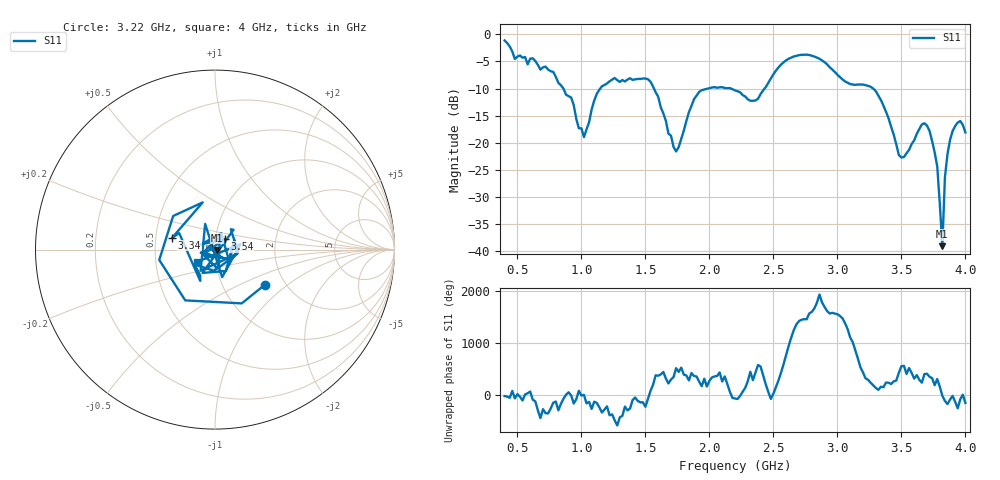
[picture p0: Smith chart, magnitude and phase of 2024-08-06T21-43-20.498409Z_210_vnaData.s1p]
!Created with skrf (http://scikit-rf.org).
# Hz S RI R 50.0
!freq ReS11 ImS11
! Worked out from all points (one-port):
!   181 points, 400 MHz to 4 GHz, reference 50 ohm
!   lowest |S11| = -39.1 dB at 3.82 GHz (marker M1), VSWR 1.02, Z = 51.1 - j0.184 ohm
!   |S11| at or under -10 dB: 859.2 MHz to 1.147 GHz (288.1 MHz wide, 28.7 % of centre); 1.567 GHz to 1.99 GHz (423.1 MHz wide, 23.8 % of centre); 3.279 GHz to end of sweep (the widest 3 of 4)
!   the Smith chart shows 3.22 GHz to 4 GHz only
!   S11 on the Smith chart (normalised r, x): 3.22 GHz: 1.57, -0.70; 3.34 GHz: 0.61, +0.09; 3.54 GHz: 1.10, +0.13; 4 GHz: 0.81, -0.11
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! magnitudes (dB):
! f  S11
! 400 MHz  -1.1
! 480 MHz  -4.5
! 860 MHz  -10.0
! 1.02 GHz  -19.0
! 1.14 GHz  -10.2
! 1.3 GHz  -8.8
! 1.54 GHz  -8.7
! 1.72 GHz  -20.8
! 1.76 GHz  -20.8
! 1.92 GHz  -10.6
! 2.2 GHz  -10.3
! 2.36 GHz  -12.2
! 2.66 GHz  -4.1
! 2.86 GHz  -4.5
! 3.1 GHz  -9.2
! 3.22 GHz  -9.4
! 3.34 GHz  -12.1
! 3.48 GHz  -22.3
! 3.54 GHz  -21.9
! 3.56 GHz  -21.3
! 3.66 GHz  -16.6
! 3.72 GHz  -17.8
! 3.78 GHz  -24.4
! 3.82 GHz  -39.1
! 3.84 GHz  -26.4
! 3.88 GHz  -19.5
! 3.96 GHz  -16.0
! 4 GHz  -18.1
